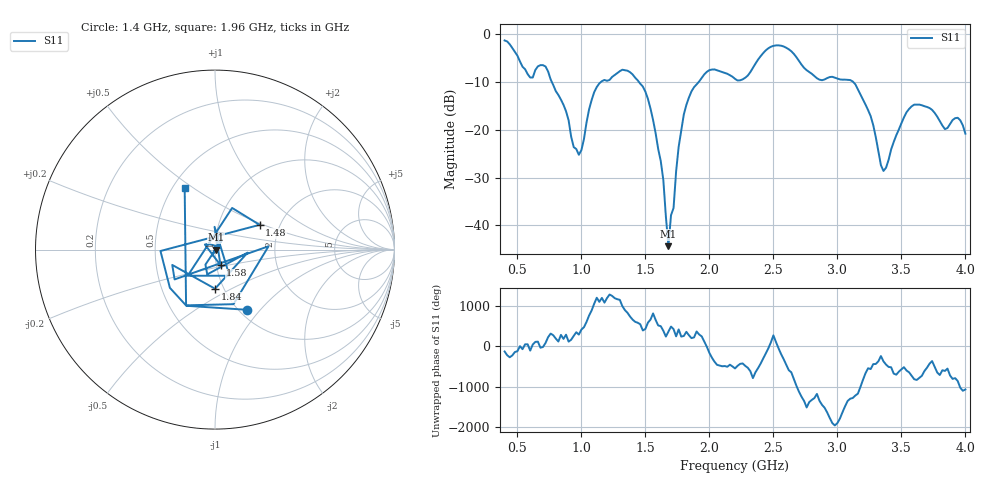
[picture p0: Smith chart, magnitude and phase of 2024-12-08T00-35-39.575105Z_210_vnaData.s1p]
!Created with skrf (http://scikit-rf.org).
# Hz S RI R 50.0
!freq ReS11 ImS11
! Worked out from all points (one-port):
!   181 points, 400 MHz to 4 GHz, reference 50 ohm
!   lowest |S11| = -44.3 dB at 1.68 GHz (marker M1), VSWR 1.01, Z = 50.6 + j0.0122 ohm
!   |S11| at or under -10 dB: 769.4 MHz to 1.152 GHz (382.4 MHz wide, 39.8 % of centre); 1.45 GHz to 1.916 GHz (465.6 MHz wide, 27.7 % of centre); 3.124 GHz to end of sweep
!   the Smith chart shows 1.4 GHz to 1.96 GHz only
!   S11 on the Smith chart (normalised r, x): 1.4 GHz: 1.09, -0.85; 1.48 GHz: 1.57, +0.47; 1.58 GHz: 1.05, -0.18; 1.84 GHz: 0.91, -0.42; 1.96 GHz: 0.58, +0.46
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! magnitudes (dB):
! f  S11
! 400 MHz  -1.3
! 600 MHz  -9.0
! 720 MHz  -6.7
! 860 MHz  -14.8
! 980 MHz  -25.2
! 1.1 GHz  -12.1
! 1.3 GHz  -7.7
! 1.4 GHz  -8.4
! 1.48 GHz  -10.9
! 1.58 GHz  -20.7
! 1.64 GHz  -30.5
! 1.68 GHz  -44.3
! 1.72 GHz  -36.3
! 1.76 GHz  -23.5
! 1.84 GHz  -13.2
! 1.96 GHz  -8.4
! 2.2 GHz  -9.3
! 2.48 GHz  -2.6
! 2.66 GHz  -4.1
! 2.86 GHz  -9.5
! 3.1 GHz  -9.6
! 3.26 GHz  -17.1
! 3.36 GHz  -28.6
! 3.56 GHz  -15.6
! 3.72 GHz  -15.4
! 3.84 GHz  -19.8
! 3.94 GHz  -17.5
! 4 GHz  -20.8
